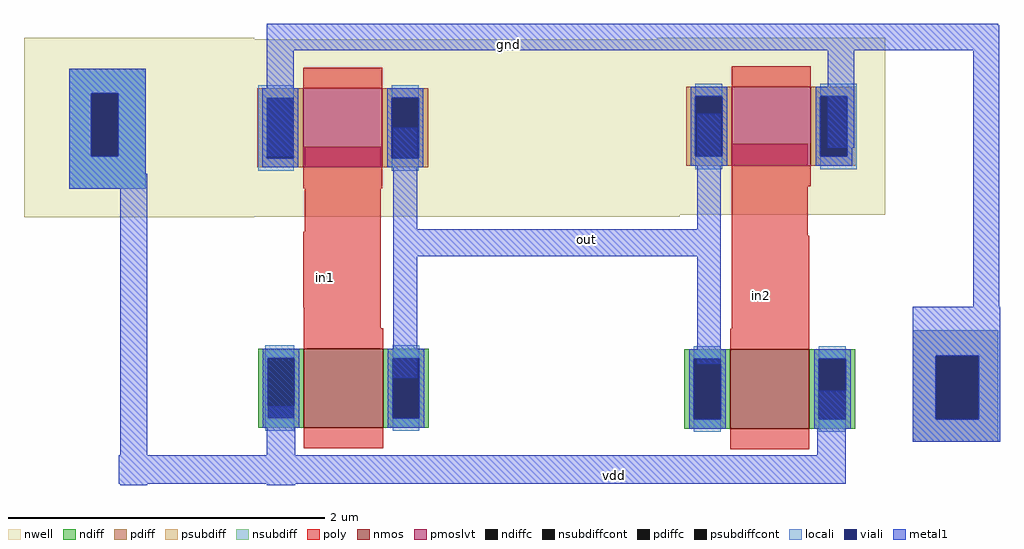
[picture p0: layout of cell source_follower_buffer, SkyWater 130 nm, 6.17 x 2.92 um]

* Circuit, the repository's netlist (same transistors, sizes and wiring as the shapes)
* SPICE3 file created from source_follower_buffer.ext - technology: sky130A

X0 out in1 vdd gnd sky130_fd_pr__nfet_01v8 ad=0.145 pd=1.58 as=0.145 ps=1.58 w=0.5 l=0.5
X1 vdd in2 out gnd sky130_fd_pr__nfet_01v8 ad=0.658625 pd=5.655 as=0.29 ps=3.16 w=0.5 l=0.5
X2 gnd in2 out vdd sky130_fd_pr__pfet_01v8_lvt ad=0.145 pd=1.58 as=0.145 ps=1.58 w=0.5 l=0.5
X3 out in1 gnd vdd sky130_fd_pr__pfet_01v8_lvt ad=0.29 pd=3.16 as=0.670725 ps=5.655 w=0.5 l=0.5

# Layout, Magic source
magic
tech sky130A
magscale 1 2
<< nwell >>
rect -657 523 -366 750
rect -334 524 172 748
rect 384 584 396 692
<< ndiff >>
rect -352 257 -309 357
<< pdiff >>
rect -361 586 -304 686
rect 390 588 396 688
<< psubdiff >>
rect 467 348 575 380
rect 467 268 496 348
rect 550 268 575 348
rect 467 239 575 268
<< nsubdiff >>
rect -600 680 -503 711
rect -600 600 -572 680
rect -538 600 -503 680
rect -600 559 -503 600
<< psubdiffcont >>
rect 496 268 550 348
<< nsubdiffcont >>
rect -572 600 -538 680
<< poly >>
rect -302 505 -206 612
rect -304 409 -206 505
rect -303 366 -206 409
rect 238 500 334 616
rect 238 370 336 500
rect -303 357 -277 366
rect 310 356 336 370
<< locali >>
rect -600 680 -503 711
rect -600 600 -572 680
rect -538 600 -503 680
rect -600 559 -503 600
rect -361 582 -316 690
rect 384 584 396 692
rect -352 253 -315 361
rect 467 348 575 380
rect 467 268 496 348
rect 550 268 575 348
rect 467 239 575 268
<< viali >>
rect -572 600 -538 680
rect 496 268 550 348
<< metal1 >>
rect -350 766 575 768
rect -350 734 576 766
rect -600 680 -503 711
rect -600 600 -572 680
rect -538 600 -503 680
rect -350 600 -316 734
rect -600 578 -503 600
rect -600 559 -501 578
rect -535 222 -501 559
rect -190 508 -160 636
rect 194 508 224 654
rect 359 611 393 734
rect -190 474 224 508
rect -190 320 -160 474
rect 194 338 224 474
rect 543 410 576 734
rect 467 348 577 410
rect -350 222 -314 284
rect 346 222 382 304
rect 467 268 496 348
rect 550 268 577 348
rect 467 239 577 268
rect -537 186 382 222
rect -535 184 -501 186
rect -350 184 -314 186
use sky130_fd_pr__nfet_01v8_R9GHMP  sky130_fd_pr__nfet_01v8_R9GHMP_0
transform 1 0 -253 0 1 307
box -108 -76 108 76
use sky130_fd_pr__nfet_01v8_R9GHMP  sky130_fd_pr__nfet_01v8_R9GHMP_1
transform 1 0 286 0 1 306
box -108 -76 108 76
use sky130_fd_pr__pfet_01v8_lvt_W2QHLG  sky130_fd_pr__pfet_01v8_lvt_W2QHLG_0
transform 1 0 288 0 1 638
box -144 -112 144 112
use sky130_fd_pr__pfet_01v8_lvt_W2QHLG  sky130_fd_pr__pfet_01v8_lvt_W2QHLG_1
transform 1 0 -254 0 1 636
box -144 -112 144 112
<< labels >>
rlabel metal1 54 495 54 495 1 out
rlabel poly -276 447 -276 447 1 in1
rlabel poly 276 424 276 424 1 in2
rlabel metal1 -44 741 -44 741 1 gnd
rlabel metal1 89 197 89 197 1 vdd
<< end >>

# cell sky130_fd_pr__nfet_01v8_R9GHMP: kit device sky130_fd_pr__nfet_01v8, w 0.5 l 0.5 m 1 nf 1 diffcov 100 polycov 100 guard 0 glc 0 grc 0 gtc 0 gbc 0 tbcov 100 rlcov 100 topc 0 botc 0 poverlap 0 doverlap 0 lmin 0.15 wmin 0.42 compatible {sky130_fd_pr__nfet_01v8 sky130_fd_pr__nfet_01v8_lvt sky130_fd_bs_flash__special_sonosfet_star sky130_fd_pr__nfet_g5v0d10v5 sky130_fd_pr__nfet_05v0_nvt sky130_fd_pr__nfet_03v3_nvt} full_metal 0 viasrc 100 viadrn 100 viagate 100 viagb 0 viagr 0 viagl 0 viagt 0

# cell sky130_fd_pr__pfet_01v8_lvt_W2QHLG: kit device sky130_fd_pr__pfet_01v8_lvt, w 0.5 l 0.5 m 1 nf 1 diffcov 100 polycov 100 guard 0 glc 0 grc 0 gtc 0 gbc 0 tbcov 100 rlcov 100 topc 0 botc 0 poverlap 0 doverlap 0 lmin 0.35 wmin 0.42 compatible {sky130_fd_pr__pfet_01v8 sky130_fd_pr__pfet_01v8_lvt sky130_fd_pr__pfet_01v8_hvt sky130_fd_pr__pfet_g5v0d10v5} full_metal 0 viasrc 100 viadrn 100 viagate 100 viagb 0 viagr 0 viagl 0 viagt 0
